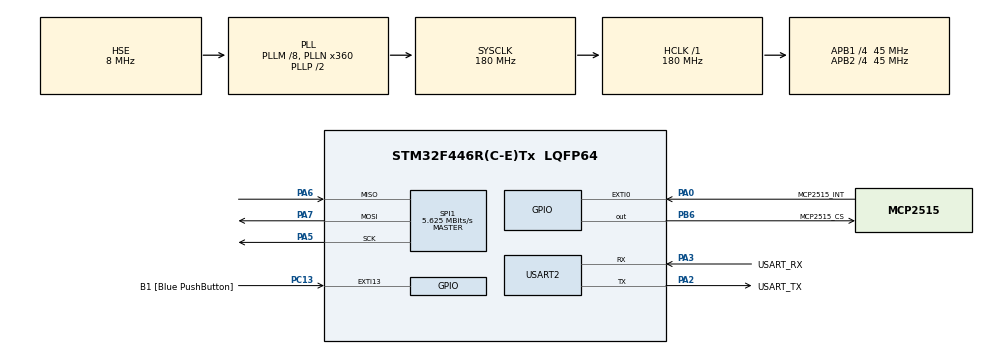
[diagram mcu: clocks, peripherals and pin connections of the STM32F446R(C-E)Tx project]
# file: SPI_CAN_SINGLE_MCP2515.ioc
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Mcu.Family=STM32F4
Mcu.Name=STM32F446R(C-E)Tx
Mcu.Package=LQFP64
NVIC.PriorityGroup=NVIC_PRIORITYGROUP_0
NVIC.SPI1_IRQn=true\:0\:0\:false\:false\:true\:true\:true\:true
NVIC.USART2_IRQn=true\:0\:0\:false\:false\:true\:true\:true\:true
PA0-WKUP.GPIO_Label=MCP2515_INT
PA0-WKUP.Signal=GPXTI0
PA13.GPIO_Label=TMS
PA13.Mode=Serial_Wire
PA13.Signal=SYS_JTMS-SWDIO
PA14.GPIO_Label=TCK
PA14.Mode=Serial_Wire
PA14.Signal=SYS_JTCK-SWCLK
PA2.GPIO_Label=USART_TX
PA2.Mode=Asynchronous
PA2.Signal=USART2_TX
PA3.GPIO_Label=USART_RX
PA3.Mode=Asynchronous
PA3.Signal=USART2_RX
PA5.Mode=Full_Duplex_Master
PA5.Signal=SPI1_SCK
PA6.Mode=Full_Duplex_Master
PA6.Signal=SPI1_MISO
PA7.Mode=Full_Duplex_Master
PA7.Signal=SPI1_MOSI
PB3.GPIO_Label=SWO
PB3.Signal=SYS_JTDO-SWO
PB6.GPIO_Label=MCP2515_CS
PB6.PinState=GPIO_PIN_SET
PB6.Signal=GPIO_Output
PC13.GPIO_Label=B1 [Blue PushButton]
PC13.GPIO_ModeDefaultEXTI=GPIO_MODE_IT_FALLING
PC13.Signal=GPXTI13
PC14-OSC32_IN.Mode=LSE-External-Oscillator
PC14-OSC32_IN.Signal=RCC_OSC32_IN
PC15-OSC32_OUT.Mode=LSE-External-Oscillator
PC15-OSC32_OUT.Signal=RCC_OSC32_OUT
PH0-OSC_IN.Mode=HSE-External-Oscillator
PH0-OSC_IN.Signal=RCC_OSC_IN
PH1-OSC_OUT.Mode=HSE-External-Oscillator
PH1-OSC_OUT.Signal=RCC_OSC_OUT
ProjectManager.HeapSize=0x200
ProjectManager.StackSize=0x400
ProjectManager.TargetToolchain=STM32CubeIDE
RCC.48MHZClocksFreq_Value=84000000
RCC.AHBFreq_Value=180000000
RCC.APB1CLKDivider=RCC_HCLK_DIV4
RCC.APB1Freq_Value=45000000
RCC.APB1TimFreq_Value=90000000
RCC.APB2CLKDivider=RCC_HCLK_DIV4
RCC.APB2Freq_Value=45000000
RCC.APB2TimFreq_Value=90000000
RCC.CortexFreq_Value=180000000
RCC.FLatency-AdvancedSettings=FLASH_LATENCY_5
RCC.HCLKFreq_Value=180000000
RCC.HSE_VALUE=8000000
RCC.HSI_VALUE=16000000
RCC.PLLM=8
RCC.PLLN=360
RCC.PLLSourceVirtual=RCC_PLLSOURCE_HSE
RCC.SYSCLKFreq_VALUE=180000000
RCC.SYSCLKSource=RCC_SYSCLKSOURCE_PLLCLK
RCC.USBFreq_Value=180000000
RCC.VCOOutputFreq_Value=360000000
SPI1.BaudRatePrescaler=SPI_BAUDRATEPRESCALER_8
SPI1.CalculateBaudRate=5.625 MBits/s
SPI1.Direction=SPI_DIRECTION_2LINES
SPI1.Mode=SPI_MODE_MASTER
SPI1.VirtualType=VM_MASTER
USART2.VirtualMode=VM_ASYNC
board=NUCLEO-F446RE

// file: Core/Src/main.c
/* USER CODE BEGIN Header */
/**
  ******************************************************************************
  * @file           : main.c
  * @brief          : Main program body
  ******************************************************************************
  * @attention
  *
  * Copyright (c) 2025 STMicroelectronics.
  * All rights reserved.
  *
  * This software is licensed under terms that can be found in the LICENSE file
  * in the root directory of this software component.
  * If no LICENSE file comes with this software, it is provided AS-IS.
  *
  ******************************************************************************
  */
/* USER CODE END Header */
#include "main.h"

/* USER CODE BEGIN Includes */

#include "stdio.h"

/* USER CODE END Includes */

/* USER CODE BEGIN PTD */
// MCP2515 SPI Commands
#define MCP2515_RESET       0xC0
#define MCP2515_READ        0x03
#define MCP2515_WRITE       0x02
#define MCP2515_RTS_TXB0    0x81
#define MCP2515_BIT_MODIFY  0x05

// MCP2515 Registers
#define MCP2515_CNF1        0x2A
#define MCP2515_CNF2        0x29
#define MCP2515_CNF3        0x28
#define MCP2515_CANCTRL     0x0F
#define MCP2515_TXB0CTRL    0x30
#define MCP2515_TXB0SIDH    0x31
#define MCP2515_TXB0SIDL    0x32
#define MCP2515_TXB0DLC     0x35
#define MCP2515_TXB0D0      0x36

/* USER CODE END PTD */

SPI_HandleTypeDef hspi1;

UART_HandleTypeDef huart2;

void SystemClock_Config(void);
static void MX_GPIO_Init(void);
static void MX_USART2_UART_Init(void);
static void MX_SPI1_Init(void);
/* USER CODE BEGIN PFP */
void MCP2515_Init(void);
void MCP2515_WriteReg(uint8_t reg, uint8_t data);
uint8_t MCP2515_ReadReg(uint8_t reg);
void MCP2515_SendMessage(uint16_t id, uint8_t *data, uint8_t len);
void UART_Print(const char *msg);
/* USER CODE END PFP */

/* USER CODE BEGIN 0 */

// SPI handle (defined in main.c by IOC)
extern SPI_HandleTypeDef hspi1;

// Low-level SPI write to MCP2515
void MCP2515_WriteReg(uint8_t reg, uint8_t data) {
    uint8_t txBuf[3] = {MCP2515_WRITE, reg, data};
    HAL_GPIO_WritePin(GPIOB, MCP2515_CS_Pin, GPIO_PIN_RESET); // CS low
    HAL_SPI_Transmit(&hspi1, txBuf, 3, 100);
    HAL_GPIO_WritePin(GPIOB, MCP2515_CS_Pin, GPIO_PIN_SET);   // CS high
}

// Low-level SPI read from MCP2515
uint8_t MCP2515_ReadReg(uint8_t reg) {
    uint8_t txBuf[2] = {MCP2515_READ, reg};
    uint8_t rxBuf[1];
    HAL_GPIO_WritePin(GPIOB, MCP2515_CS_Pin, GPIO_PIN_RESET);
    HAL_SPI_Transmit(&hspi1, txBuf, 2, 100);
    HAL_SPI_Receive(&hspi1, rxBuf, 1, 100);
    HAL_GPIO_WritePin(GPIOB, MCP2515_CS_Pin, GPIO_PIN_SET);
    return rxBuf[0];
}

// Reset MCP2515
void MCP2515_Reset(void) {
    uint8_t txBuf[1] = {MCP2515_RESET};
    HAL_GPIO_WritePin(GPIOB, MCP2515_CS_Pin, GPIO_PIN_RESET);
    HAL_SPI_Transmit(&hspi1, txBuf, 1, 100);
    HAL_GPIO_WritePin(GPIOB, MCP2515_CS_Pin, GPIO_PIN_SET);
    HAL_Delay(10); // Wait for reset
}

// Initialize MCP2515 (500 kbps, normal mode)
void MCP2515_Init(void) {
    // Reset MCP2515
    MCP2515_Reset();

    // Configure baud rate (500 kbps for 8 MHz crystal)
    // Fosc = 8 MHz, TQ = 2/Fosc, Baud = 1/(2 * TQ * (1 + BRP))
    MCP2515_WriteReg(MCP2515_CNF1, 0x01); // BRP = 1, SJW = 1
    MCP2515_WriteReg(MCP2515_CNF2, 0xB1); // PHSEG1 = 3, PRSEG = 2
    MCP2515_WriteReg(MCP2515_CNF3, 0x01); // PHSEG2 = 2

    // Set normal mode
    MCP2515_WriteReg(MCP2515_CANCTRL, 0x00); // Normal mode, CLKOUT disabled
}

// Send CAN message (standard 11-bit ID)
void MCP2515_SendMessage(uint16_t id, uint8_t *data, uint8_t len) {
    // Set ID (11-bit)
    MCP2515_WriteReg(MCP2515_TXB0SIDH, (id >> 3) & 0xFF);   // High byte
    MCP2515_WriteReg(MCP2515_TXB0SIDL, (id << 5) & 0xE0);   // Low byte, standard ID

    // Set data length (max 8 bytes)
    MCP2515_WriteReg(MCP2515_TXB0DLC, len & 0x0F);

    // Write data
    for (uint8_t i = 0; i < len && i < 8; i++) {
        MCP2515_WriteReg(MCP2515_TXB0D0 + i, data[i]);
    }

    // Request to send
    uint8_t txBuf[1] = {MCP2515_RTS_TXB0};
    HAL_GPIO_WritePin(GPIOB, MCP2515_CS_Pin, GPIO_PIN_RESET);
    HAL_SPI_Transmit(&hspi1, txBuf, 1, 100);
    HAL_GPIO_WritePin(GPIOB, MCP2515_CS_Pin, GPIO_PIN_SET);
}

/* USER CODE END 0 */
extern UART_HandleTypeDef huart2;
void UART_Print(const char *msg) {
    HAL_UART_Transmit(&huart2, (uint8_t*)msg, strlen(msg), 100);
}

int main(void)
{

  /* MCU Configuration--------------------------------------------------------*/

  /* Reset of all peripherals, Initializes the Flash interface and the Systick. */
  HAL_Init();

  /* Configure the system clock */
  SystemClock_Config();

  /* Initialize all configured peripherals */
  MX_GPIO_Init();
  MX_USART2_UART_Init();
  MX_SPI1_Init();

  /* Infinite loop */
  while (1)
  {
	  // Initialize MCP2515
	  MCP2515_Init();
	  #ifdef huart2
	  UART_Print("MCP2515 Initialized\r\n");
	  #endif

	  // Send CAN message: ID=0x100, Data="Hello"
	  uint8_t data[] = {'H', 'e', 'l', 'l', 'o'};
	  MCP2515_SendMessage(0x100, data, 5);
	  #ifdef huart2
	  UART_Print("CAN Message Sent: Hello\r\n");
	  #endif

	  // Wait and send once (or loop for testing)
	  HAL_Delay(1000); // Send every 1 second

  }
}

void SystemClock_Config(void)
{
  RCC_OscInitTypeDef RCC_OscInitStruct = {0};
  RCC_ClkInitTypeDef RCC_ClkInitStruct = {0};

  /** Configure the main internal regulator output voltage
  */
  __HAL_RCC_PWR_CLK_ENABLE();
  __HAL_PWR_VOLTAGESCALING_CONFIG(PWR_REGULATOR_VOLTAGE_SCALE1);

  /** Initializes the RCC Oscillators according to the specified parameters
  * in the RCC_OscInitTypeDef structure.
  */
  RCC_OscInitStruct.OscillatorType = RCC_OSCILLATORTYPE_HSE;
  RCC_OscInitStruct.HSEState = RCC_HSE_ON;
  RCC_OscInitStruct.PLL.PLLState = RCC_PLL_ON;
  RCC_OscInitStruct.PLL.PLLSource = RCC_PLLSOURCE_HSE;
  RCC_OscInitStruct.PLL.PLLM = 8;
  RCC_OscInitStruct.PLL.PLLN = 360;
  RCC_OscInitStruct.PLL.PLLP = RCC_PLLP_DIV2;
  RCC_OscInitStruct.PLL.PLLQ = 2;
  RCC_OscInitStruct.PLL.PLLR = 2;
  if (HAL_RCC_OscConfig(&RCC_OscInitStruct) != HAL_OK)
  {
    Error_Handler();
  }

  /** Activate the Over-Drive mode
  */
  if (HAL_PWREx_EnableOverDrive() != HAL_OK)
  {
    Error_Handler();
  }

  /** Initializes the CPU, AHB and APB buses clocks
  */
  RCC_ClkInitStruct.ClockType = RCC_CLOCKTYPE_HCLK|RCC_CLOCKTYPE_SYSCLK
                              |RCC_CLOCKTYPE_PCLK1|RCC_CLOCKTYPE_PCLK2;
  RCC_ClkInitStruct.SYSCLKSource = RCC_SYSCLKSOURCE_PLLCLK;
  RCC_ClkInitStruct.AHBCLKDivider = RCC_SYSCLK_DIV1;
  RCC_ClkInitStruct.APB1CLKDivider = RCC_HCLK_DIV4;
  RCC_ClkInitStruct.APB2CLKDivider = RCC_HCLK_DIV4;

  if (HAL_RCC_ClockConfig(&RCC_ClkInitStruct, FLASH_LATENCY_5) != HAL_OK)
  {
    Error_Handler();
  }
}

static void MX_SPI1_Init(void)
{

  /* SPI1 parameter configuration*/
  hspi1.Instance = SPI1;
  hspi1.Init.Mode = SPI_MODE_MASTER;
  hspi1.Init.Direction = SPI_DIRECTION_2LINES;
  hspi1.Init.DataSize = SPI_DATASIZE_8BIT;
  hspi1.Init.CLKPolarity = SPI_POLARITY_LOW;
  hspi1.Init.CLKPhase = SPI_PHASE_1EDGE;
  hspi1.Init.NSS = SPI_NSS_SOFT;
  hspi1.Init.BaudRatePrescaler = SPI_BAUDRATEPRESCALER_8;
  hspi1.Init.FirstBit = SPI_FIRSTBIT_MSB;
  hspi1.Init.TIMode = SPI_TIMODE_DISABLE;
  hspi1.Init.CRCCalculation = SPI_CRCCALCULATION_DISABLE;
  hspi1.Init.CRCPolynomial = 10;
  if (HAL_SPI_Init(&hspi1) != HAL_OK)
  {
    Error_Handler();
  }

}

static void MX_USART2_UART_Init(void)
{

  huart2.Instance = USART2;
  huart2.Init.BaudRate = 115200;
  huart2.Init.WordLength = UART_WORDLENGTH_8B;
  huart2.Init.StopBits = UART_STOPBITS_1;
  huart2.Init.Parity = UART_PARITY_NONE;
  huart2.Init.Mode = UART_MODE_TX_RX;
  huart2.Init.HwFlowCtl = UART_HWCONTROL_NONE;
  huart2.Init.OverSampling = UART_OVERSAMPLING_16;
  if (HAL_UART_Init(&huart2) != HAL_OK)
  {
    Error_Handler();
  }

}

static void MX_GPIO_Init(void)
{
  GPIO_InitTypeDef GPIO_InitStruct = {0};

  /* GPIO Ports Clock Enable */
  __HAL_RCC_GPIOC_CLK_ENABLE();
  __HAL_RCC_GPIOH_CLK_ENABLE();
  __HAL_RCC_GPIOA_CLK_ENABLE();
  __HAL_RCC_GPIOB_CLK_ENABLE();

  /*Configure GPIO pin Output Level */
  HAL_GPIO_WritePin(MCP2515_CS_GPIO_Port, MCP2515_CS_Pin, GPIO_PIN_SET);

  /*Configure GPIO pin : B1_Pin */
  GPIO_InitStruct.Pin = B1_Pin;
  GPIO_InitStruct.Mode = GPIO_MODE_IT_FALLING;
  GPIO_InitStruct.Pull = GPIO_NOPULL;
  HAL_GPIO_Init(B1_GPIO_Port, &GPIO_InitStruct);

  /*Configure GPIO pin : MCP2515_INT_Pin */
  GPIO_InitStruct.Pin = MCP2515_INT_Pin;
  GPIO_InitStruct.Mode = GPIO_MODE_IT_RISING;
  GPIO_InitStruct.Pull = GPIO_NOPULL;
  HAL_GPIO_Init(MCP2515_INT_GPIO_Port, &GPIO_InitStruct);

  /*Configure GPIO pin : MCP2515_CS_Pin */
  GPIO_InitStruct.Pin = MCP2515_CS_Pin;
  GPIO_InitStruct.Mode = GPIO_MODE_OUTPUT_PP;
  GPIO_InitStruct.Pull = GPIO_NOPULL;
  GPIO_InitStruct.Speed = GPIO_SPEED_FREQ_LOW;
  HAL_GPIO_Init(MCP2515_CS_GPIO_Port, &GPIO_InitStruct);

}

void Error_Handler(void)
{
  __disable_irq();
  while (1)
  {
  }
}
